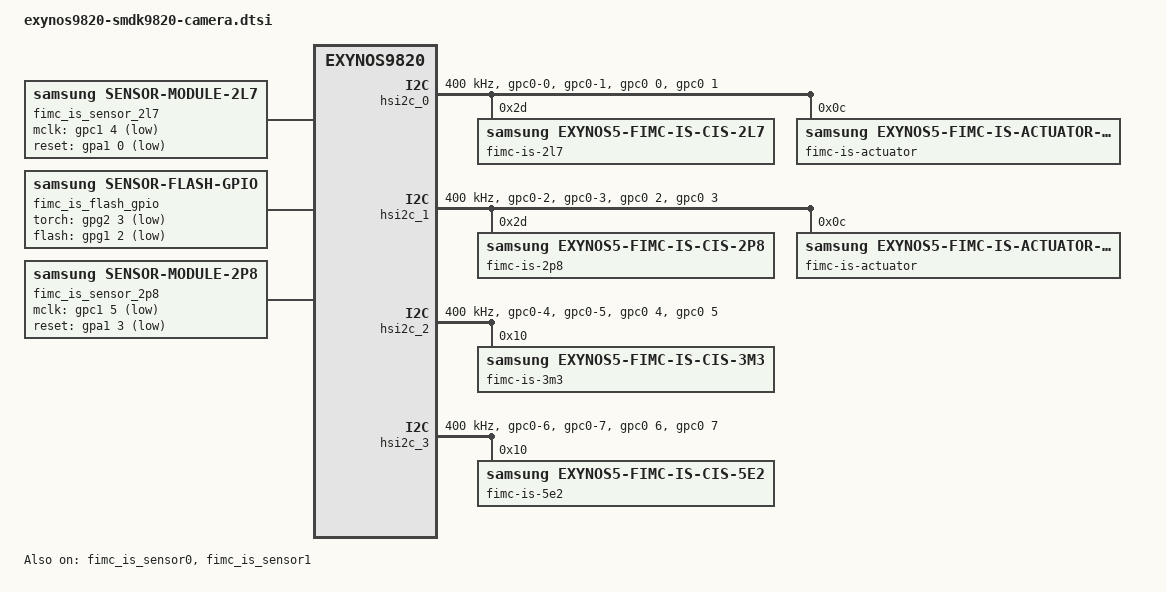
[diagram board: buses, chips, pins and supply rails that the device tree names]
/*
 * SAMSUNG EXYNOS9820 board camera device tree source
 *
 * Copyright (c) 2018 Samsung Electronics Co., Ltd.
 *		http://www.samsung.com
 *
 * This program is free software; you can redistribute it and/or modify
 * it under the terms of the GNU General Public License version 2 as
 * published by the Free Software Foundation.
*/

#include <dt-bindings/camera/fimc_is.h>

/ {
	fragment@camera {
		target-path = "/";
		__overlay__ {
			/* REAR CAMERA */
			fimc_is_sensor_2l7: fimc-is_sensor_2l7@5A {
				compatible = "samsung,sensor-module-2l7";

				pinctrl-names = "pin0", "pin1", "pin2", "release";
				pinctrl-0 = <>;
				pinctrl-1 = <&sensor_mclk0_out>;
				pinctrl-2 = <&sensor_mclk0_fn>;
				pinctrl-3 = <>;

				position = <0>;	/* Rear:0. Front:1. Rear_sub:2. Secure:3. */
				id = <0>; /* fimc_is_sensor id */
				mclk_ch = <0>;
				i2c_ch = <0>; /* I2C 0 */

				gpio_mclk = <&gpc1 4 0x1>;
				gpio_reset = <&gpa1 0 0x1>; /* sensor reset */
				status = "okay";

				af {
					product_name = <12>; /* ACTUATOR_NAME_AK7371 */
					i2c_ch = <0>; /* I2C 0 */
				};

				flash {
					product_name = <11>; /* FLASH_GPIO */
				};
			};

			fimc_is_flash_gpio: fimc-is-flash-gpio@0 {
				compatible = "samsung,sensor-flash-gpio";
				id = <0>;
				status = "okay";

				torch-gpio = <&gpg2 3 0x1>;
				flash-gpio = <&gpg1 2 0x1>;
			};

			/* FRONT CAMERA */
			fimc_is_sensor_2p8: fimc-is_sensor_2p8@5A {
				compatible = "samsung,sensor-module-2p8";

				pinctrl-names = "pin0", "pin1", "pin2", "release";
				pinctrl-0 = <>;
				pinctrl-1 = <&sensor_mclk1_out>;
				pinctrl-2 = <&sensor_mclk1_fn>;
				pinctrl-3 = <>;

				position = <1>;	/* Rear:0. Front:1. Rear_sub:2. Secure:3. */
				id = <1>; /* fimc_is_sensor id */
				mclk_ch = <1>;
				i2c_ch = <1>; /* I2C 1 */

				gpio_mclk = <&gpc1 5 0x1>;
				gpio_reset = <&gpa1 3 0x1>; /* sensor reset */
				status = "okay";

				af {
					product_name = <7>; /* ACTUATOR_NAME_AK7345 */
					i2c_ch = <1>; /* I2C 1 */
				};
			};

			/* REAR_SUB CAMERA */
			fimc_is_sensor_3m3: fimc-is_sensor_3m3@5A {
				compatible = "samsung,sensor-module-3m3";

				pinctrl-names = "pin0", "pin1", "pin2", "release";
				pinctrl-0 = <>;
				pinctrl-1 = <&sensor_mclk0_out>;
				pinctrl-2 = <&sensor_mclk0_fn>;
				pinctrl-3 = <>;

				position = <2>;	/* Rear:0. Front:1. Rear_sub:2. Secure:3. */
				id = <2>; /* fimc_is_sensor id */
				mclk_ch = <0>;

				gpio_mclk = <&gpc1 4 0x1>;
				gpio_reset = <&gpa1 4 0x1>; /* sensor reset */

				power_seq_id = <1>;  /* [0: < Rev0.2], [1: > Rev0.2] */

				status = "disabled";

				af {
					product_name = <100>; /* ACTUATOR_NAME_NOTHING */
				};
			};

			/* Secure CAMERA */
			fimc_is_sensor_5e2: fimc-is_sensor_5e2@20 {
				compatible = "samsung,sensor-module-5e2";

				pinctrl-names = "pin0", "pin1", "pin2", "release";
				pinctrl-0 = <>;
				pinctrl-1 = <&sensor_mclk3_out>;
				pinctrl-2 = <&sensor_mclk3_fn>;
				/*
				pinctrl-1 = <&sensor_mclk4_out>;
				pinctrl-2 = <&sensor_mclk4_fn>;
				*/
				pinctrl-3 = <>;

				position = <3>;	/* Rear:0. Front:1. Rear_sub:2. Secure:3. */
				id = <3>; /* fimc_is_sensor id */
				mclk_ch = <3>;

				gpio_mclk = <&gpc1 7 0x1>;
				gpio_reset = <&gpm18 0 0x1>; /* sensor reset */
				/*
				gpio_mclk = <&gpg3 0 0x1>;
				gpio_reset = <&gpm18 0 0x1>;
				*/
				status = "disabled";
			};
		}; /* end of __overlay__ */
	}; /* end of fragment */
}; /* end of root */

/***** reference symbol node *****/

&fimc_is {
	vender {
		rear_sensor_id = <35>; /* 2L7 */
		front_sensor_id = <20>; /* 2P8 */
		rear2_sensor_id = <33>; /* 3M3 */
		secure_sensor_id = <22>; /* 5E2 */
		front2_sensor_id = <22>; /* 5E2 */
	};

	fimc_is_dvfs {
		#define DVFS_INT_CAM_L0 690000
		#define DVFS_INT_CAM_L1 680000
		#define DVFS_INT_CAM_L2 670000
		#define DVFS_INT_CAM_L3 660000
		#define DVFS_INT_CAM_L4 650000

		#define DVFS_INT_L0 534000
		#define DVFS_INT_L1 400000
		#define DVFS_INT_L2 267000
		#define DVFS_INT_L3 200000
		#define DVFS_INT_L4 100000

		#define DVFS_CAM_L0 690000
		#define DVFS_CAM_L1 680000
		#define DVFS_CAM_L2 670000
		#define DVFS_CAM_L3 660000
		#define DVFS_CAM_L4 650000

		#define DVFS_MIF_L0 2094000
		#define DVFS_MIF_L1 2093000
		#define DVFS_MIF_L2 1794000
		#define DVFS_MIF_L3 1539000
		#define DVFS_MIF_L4 1352000
		#define DVFS_MIF_L5 1014000
		#define DVFS_MIF_L6 845000
		#define DVFS_MIF_L7 676000
		#define DVFS_MIF_L8 546000
		#define DVFS_MIF_L9 421000

		table0 {
			desc = "dvfs table v0.2 for 12M/8M";

			default_int_cam = <DVFS_INT_CAM_L0>;
			default_cam = <DVFS_CAM_L0>;
			default_mif = <DVFS_MIF_L0>;
			default_int = <DVFS_INT_L4>;
			default_hpg = <1>;

			front2_preview_int_cam = <DVFS_INT_CAM_L3>;
			front2_preview_cam = <DVFS_CAM_L3>;
			front2_preview_mif = <DVFS_MIF_L4>;
			front2_preview_int = <DVFS_INT_L4>;
			front2_preview_hpg = <1>;

			front2_capture_int_cam = <DVFS_INT_CAM_L3>;
			front2_capture_cam = <DVFS_CAM_L3>;
			front2_capture_mif = <DVFS_MIF_L4>;
			front2_capture_int = <DVFS_INT_L4>;
			front2_capture_hpg = <1>;

			front2_video_int_cam = <DVFS_INT_CAM_L3>;
			front2_video_cam = <DVFS_CAM_L3>;
			front2_video_mif = <DVFS_MIF_L4>;
			front2_video_int = <DVFS_INT_L4>;
			front2_video_hpg = <1>;

			front2_video_capture_int_cam = <DVFS_INT_CAM_L3>;
			front2_video_capture_cam = <DVFS_CAM_L3>;
			front2_video_capture_mif = <DVFS_MIF_L4>;
			front2_video_capture_int = <DVFS_INT_L4>;
			front2_video_capture_hpg = <1>;

			front_preview_int_cam = <DVFS_INT_CAM_L3>;
			front_preview_cam = <DVFS_CAM_L1>;
			front_preview_mif = <DVFS_MIF_L4>;
			front_preview_int = <DVFS_INT_L4>;
			front_preview_hpg = <1>;

			front_preview_full_int_cam = <DVFS_INT_CAM_L3>;
			front_preview_full_cam = <DVFS_CAM_L1>;
			front_preview_full_mif = <DVFS_MIF_L4>;
			front_preview_full_int = <DVFS_INT_L4>;
			front_preview_full_hpg = <1>;

			front_capture_int_cam = <DVFS_INT_CAM_L3>;
			front_capture_cam = <DVFS_CAM_L1>;
			front_capture_mif = <DVFS_MIF_L4>;
			front_capture_int = <DVFS_INT_L4>;
			front_capture_hpg = <1>;

			front_video_int_cam = <DVFS_INT_CAM_L3>;
			front_video_cam = <DVFS_CAM_L1>;
			front_video_mif = <DVFS_MIF_L4>;
			front_video_int = <DVFS_INT_L4>;
			front_video_hpg = <1>;

			front_video_whd_int_cam = <DVFS_INT_CAM_L3>;
			front_video_whd_cam = <DVFS_CAM_L1>;
			front_video_whd_mif = <DVFS_MIF_L4>;
			front_video_whd_int = <DVFS_INT_L4>;
			front_video_whd_hpg = <1>;

			front_video_uhd_int_cam = <DVFS_INT_CAM_L3>;
			front_video_uhd_cam = <DVFS_CAM_L1>;
			front_video_uhd_mif = <DVFS_MIF_L4>;
			front_video_uhd_int = <DVFS_INT_L4>;
			front_video_uhd_hpg = <1>;

			front_video_capture_int_cam = <DVFS_INT_CAM_L3>;
			front_video_capture_cam = <DVFS_CAM_L1>;
			front_video_capture_mif = <DVFS_MIF_L4>;
			front_video_capture_int = <DVFS_INT_L4>;
			front_video_capture_hpg = <1>;

			front_video_whd_capture_int_cam = <DVFS_INT_CAM_L3>;
			front_video_whd_capture_cam = <DVFS_CAM_L1>;
			front_video_whd_capture_mif = <DVFS_MIF_L4>;
			front_video_whd_capture_int = <DVFS_INT_L4>;
			front_video_whd_capture_hpg = <1>;

			front_video_uhd_capture_int_cam = <DVFS_INT_CAM_L3>;
			front_video_uhd_capture_cam = <DVFS_CAM_L1>;
			front_video_uhd_capture_mif = <DVFS_MIF_L4>;
			front_video_uhd_capture_int = <DVFS_INT_L4>;
			front_video_uhd_capture_hpg = <1>;

			front_dual_sync_preview_int_cam = <DVFS_INT_CAM_L1>;
			front_dual_sync_preview_cam = <DVFS_CAM_L1>;
			front_dual_sync_preview_mif = <DVFS_MIF_L4>;
			front_dual_sync_preview_int = <DVFS_INT_L4>;
			front_dual_sync_preview_hpg = <1>;

			front_dual_sync_capture_int_cam = <DVFS_INT_CAM_L1>;
			front_dual_sync_capture_cam = <DVFS_CAM_L1>;
			front_dual_sync_capture_mif = <DVFS_MIF_L3>;
			front_dual_sync_capture_int = <DVFS_INT_L4>;
			front_dual_sync_capture_hpg = <1>;

			front_dual_sync_video_fhd_int_cam = <DVFS_INT_CAM_L1>;
			front_dual_sync_video_fhd_cam = <DVFS_CAM_L1>;
			front_dual_sync_video_fhd_mif = <DVFS_MIF_L4>;
			front_dual_sync_video_fhd_int = <DVFS_INT_L4>;
			front_dual_sync_video_fhd_hpg = <1>;

			front_dual_sync_video_fhd_capture_int_cam = <DVFS_INT_CAM_L1>;
			front_dual_sync_video_fhd_capture_cam = <DVFS_CAM_L1>;
			front_dual_sync_video_fhd_capture_mif = <DVFS_MIF_L3>;
			front_dual_sync_video_fhd_capture_int = <DVFS_INT_L4>;
			front_dual_sync_video_fhd_capture_hpg = <1>;

			front_vt1_int_cam = <DVFS_INT_CAM_L3>;
			front_vt1_cam = <DVFS_CAM_L3>;
			front_vt1_mif = <DVFS_MIF_L4>;
			front_vt1_int = <DVFS_INT_L4>;
			front_vt1_hpg = <1>;

			front_vt2_int_cam = <DVFS_INT_CAM_L3>;
			front_vt2_cam = <DVFS_CAM_L3>;
			front_vt2_mif = <DVFS_MIF_L4>;
			front_vt2_int = <DVFS_INT_L4>;
			front_vt2_hpg = <1>;

			front_vt4_int_cam = <DVFS_INT_CAM_L3>;
			front_vt4_cam = <DVFS_CAM_L3>;
			front_vt4_mif = <DVFS_MIF_L4>;
			front_vt4_int = <DVFS_INT_L4>;
			front_vt4_hpg = <1>;

			front_preview_high_speed_fps_int_cam = <DVFS_INT_CAM_L3>;
			front_preview_high_speed_fps_cam = <DVFS_CAM_L1>;
			front_preview_high_speed_fps_mif = <DVFS_MIF_L4>;
			front_preview_high_speed_fps_int = <DVFS_INT_L4>;
			front_preview_high_speed_fps_hpg = <1>;

			rear3_preview_fhd_int_cam = <DVFS_INT_CAM_L3>;
			rear3_preview_fhd_cam = <DVFS_CAM_L1>;
			rear3_preview_fhd_mif = <DVFS_MIF_L4>;
			rear3_preview_fhd_int = <DVFS_INT_L4>;
			rear3_preview_fhd_hpg = <1>;

			rear3_capture_int_cam = <DVFS_INT_CAM_L1>;
			rear3_capture_cam = <DVFS_CAM_L1>;
			rear3_capture_mif = <DVFS_MIF_L4>;
			rear3_capture_int = <DVFS_INT_L4>;
			rear3_capture_hpg = <1>;

			rear3_video_fhd_int_cam = <DVFS_INT_CAM_L3>;
			rear3_video_fhd_cam = <DVFS_CAM_L1>;
			rear3_video_fhd_mif = <DVFS_MIF_L4>;
			rear3_video_fhd_int = <DVFS_INT_L4>;
			rear3_video_fhd_hpg = <1>;

			rear3_video_fhd_capture_int_cam = <DVFS_INT_CAM_L1>;
			rear3_video_fhd_capture_cam = <DVFS_CAM_L1>;
			rear3_video_fhd_capture_mif = <DVFS_MIF_L4>;
			rear3_video_fhd_capture_int = <DVFS_INT_L4>;
			rear3_video_fhd_capture_hpg = <1>;

			rear2_preview_fhd_int_cam = <DVFS_INT_CAM_L3>;
			rear2_preview_fhd_cam = <DVFS_CAM_L1>;
			rear2_preview_fhd_mif = <DVFS_MIF_L4>;
			rear2_preview_fhd_int = <DVFS_INT_L4>;
			rear2_preview_fhd_hpg = <1>;

			rear2_capture_int_cam = <DVFS_INT_CAM_L1>;
			rear2_capture_cam = <DVFS_CAM_L1>;
			rear2_capture_mif = <DVFS_MIF_L4>;
			rear2_capture_int = <DVFS_INT_L4>;
			rear2_capture_hpg = <1>;

			rear2_video_fhd_int_cam = <DVFS_INT_CAM_L3>;
			rear2_video_fhd_cam = <DVFS_CAM_L1>;
			rear2_video_fhd_mif = <DVFS_MIF_L4>;
			rear2_video_fhd_int = <DVFS_INT_L4>;
			rear2_video_fhd_hpg = <1>;

			rear2_video_fhd_capture_int_cam = <DVFS_INT_CAM_L1>;
			rear2_video_fhd_capture_cam = <DVFS_CAM_L1>;
			rear2_video_fhd_capture_mif = <DVFS_MIF_L4>;
			rear2_video_fhd_capture_int = <DVFS_INT_L4>;
			rear2_video_fhd_capture_hpg = <1>;

			rear_preview_fhd_int_cam = <DVFS_INT_CAM_L3>;
			rear_preview_fhd_cam = <DVFS_CAM_L1>;
			rear_preview_fhd_mif = <DVFS_MIF_L4>;
			rear_preview_fhd_int = <DVFS_INT_L4>;
			rear_preview_fhd_hpg = <1>;

			rear_preview_whd_int_cam = <DVFS_INT_CAM_L3>;
			rear_preview_whd_cam = <DVFS_CAM_L1>;
			rear_preview_whd_mif = <DVFS_MIF_L4>;
			rear_preview_whd_int = <DVFS_INT_L4>;
			rear_preview_whd_hpg = <1>;

			rear_preview_uhd_int_cam = <DVFS_INT_CAM_L3>;
			rear_preview_uhd_cam = <DVFS_CAM_L1>;
			rear_preview_uhd_mif = <DVFS_MIF_L4>;
			rear_preview_uhd_int = <DVFS_INT_L4>;
			rear_preview_uhd_hpg = <1>;

			rear_preview_uhd_60fps_int_cam = <DVFS_INT_CAM_L1>;
			rear_preview_uhd_60fps_cam = <DVFS_CAM_L1>;
			rear_preview_uhd_60fps_mif = <DVFS_MIF_L3>;
			rear_preview_uhd_60fps_int = <DVFS_INT_L4>;
			rear_preview_uhd_60fps_hpg = <1>;

			rear_preview_full_int_cam = <DVFS_INT_CAM_L3>;
			rear_preview_full_cam = <DVFS_CAM_L1>;
			rear_preview_full_mif = <DVFS_MIF_L4>;
			rear_preview_full_int = <DVFS_INT_L4>;
			rear_preview_full_hpg = <1>;

			rear_capture_int_cam = <DVFS_INT_CAM_L1>;
			rear_capture_cam = <DVFS_CAM_L1>;
			rear_capture_mif = <DVFS_MIF_L4>;
			rear_capture_int = <DVFS_INT_L4>;
			rear_capture_hpg = <1>;

			rear_video_fhd_int_cam = <DVFS_INT_CAM_L3>;
			rear_video_fhd_cam = <DVFS_CAM_L1>;
			rear_video_fhd_mif = <DVFS_MIF_L4>;
			rear_video_fhd_int = <DVFS_INT_L4>;
			rear_video_fhd_hpg = <1>;

			rear_video_whd_int_cam = <DVFS_INT_CAM_L3>;
			rear_video_whd_cam = <DVFS_CAM_L1>;
			rear_video_whd_mif = <DVFS_MIF_L4>;
			rear_video_whd_int = <DVFS_INT_L4>;
			rear_video_whd_hpg = <1>;

			rear_video_uhd_int_cam = <DVFS_INT_CAM_L3>;
			rear_video_uhd_cam = <DVFS_CAM_L1>;
			rear_video_uhd_mif = <DVFS_MIF_L4>;
			rear_video_uhd_int = <DVFS_INT_L4>;
			rear_video_uhd_hpg = <1>;

			rear_video_uhd_60fps_int_cam = <DVFS_INT_CAM_L1>;
			rear_video_uhd_60fps_cam = <DVFS_CAM_L1>;
			rear_video_uhd_60fps_mif = <DVFS_MIF_L3>;
			rear_video_uhd_60fps_int = <DVFS_INT_L4>;
			rear_video_uhd_60fps_hpg = <1>;

			rear_video_fhd_capture_int_cam = <DVFS_INT_CAM_L1>;
			rear_video_fhd_capture_cam = <DVFS_CAM_L1>;
			rear_video_fhd_capture_mif = <DVFS_MIF_L4>;
			rear_video_fhd_capture_int = <DVFS_INT_L4>;
			rear_video_fhd_capture_hpg = <1>;

			rear_video_whd_capture_int_cam = <DVFS_INT_CAM_L1>;
			rear_video_whd_capture_cam = <DVFS_CAM_L1>;
			rear_video_whd_capture_mif = <DVFS_MIF_L4>;
			rear_video_whd_capture_int = <DVFS_INT_L4>;
			rear_video_whd_capture_hpg = <1>;

			rear_video_uhd_capture_int_cam = <DVFS_INT_CAM_L1>;
			rear_video_uhd_capture_cam = <DVFS_CAM_L1>;
			rear_video_uhd_capture_mif = <DVFS_MIF_L4>;
			rear_video_uhd_capture_int = <DVFS_INT_L4>;
			rear_video_uhd_capture_hpg = <1>;

			dual_preview_int_cam = <DVFS_INT_CAM_L3>;
			dual_preview_cam = <DVFS_CAM_L1>;
			dual_preview_mif = <DVFS_MIF_L4>;
			dual_preview_int = <DVFS_INT_L4>;
			dual_preview_hpg = <1>;

			dual_capture_int_cam = <DVFS_INT_CAM_L1>;
			dual_capture_cam = <DVFS_CAM_L1>;
			dual_capture_mif = <DVFS_MIF_L4>;
			dual_capture_int = <DVFS_INT_L4>;
			dual_capture_hpg = <1>;

			dual_video_fhd_int_cam = <DVFS_INT_CAM_L3>;
			dual_video_fhd_cam = <DVFS_CAM_L1>;
			dual_video_fhd_mif = <DVFS_MIF_L4>;
			dual_video_fhd_int = <DVFS_INT_L4>;
			dual_video_fhd_hpg = <1>;

			dual_video_fhd_capture_int_cam = <DVFS_INT_CAM_L1>;
			dual_video_fhd_capture_cam = <DVFS_CAM_L1>;
			dual_video_fhd_capture_mif = <DVFS_MIF_L4>;
			dual_video_fhd_capture_int = <DVFS_INT_L4>;
			dual_video_fhd_capture_hpg = <1>;

			dual_video_uhd_int_cam = <DVFS_INT_CAM_L3>;
			dual_video_uhd_cam = <DVFS_CAM_L1>;
			dual_video_uhd_mif = <DVFS_MIF_L4>;
			dual_video_uhd_int = <DVFS_INT_L4>;
			dual_video_uhd_hpg = <1>;

			dual_video_uhd_capture_int_cam = <DVFS_INT_CAM_L1>;
			dual_video_uhd_capture_cam = <DVFS_CAM_L1>;
			dual_video_uhd_capture_mif = <DVFS_MIF_L4>;
			dual_video_uhd_capture_int = <DVFS_INT_L4>;
			dual_video_uhd_capture_hpg = <1>;

			dual_sync_preview_int_cam = <DVFS_INT_CAM_L1>;
			dual_sync_preview_cam = <DVFS_CAM_L1>;
			dual_sync_preview_mif = <DVFS_MIF_L4>;
			dual_sync_preview_int = <DVFS_INT_L4>;
			dual_sync_preview_hpg = <1>;

			dual_sync_capture_int_cam = <DVFS_INT_CAM_L1>;
			dual_sync_capture_cam = <DVFS_CAM_L1>;
			dual_sync_capture_mif = <DVFS_MIF_L3>;
			dual_sync_capture_int = <DVFS_INT_L4>;
			dual_sync_capture_hpg = <1>;

			dual_sync_preview_whd_int_cam = <DVFS_INT_CAM_L1>;
			dual_sync_preview_whd_cam = <DVFS_CAM_L1>;
			dual_sync_preview_whd_mif = <DVFS_MIF_L3>;
			dual_sync_preview_whd_int = <DVFS_INT_L4>;
			dual_sync_preview_whd_hpg = <1>;

			dual_sync_whd_capture_int_cam = <DVFS_INT_CAM_L1>;
			dual_sync_whd_capture_cam = <DVFS_CAM_L1>;
			dual_sync_whd_capture_mif = <DVFS_MIF_L3>;
			dual_sync_whd_capture_int = <DVFS_INT_L4>;
			dual_sync_whd_capture_hpg = <1>;

			dual_sync_video_fhd_int_cam = <DVFS_INT_CAM_L1>;
			dual_sync_video_fhd_cam = <DVFS_CAM_L1>;
			dual_sync_video_fhd_mif = <DVFS_MIF_L4>;
			dual_sync_video_fhd_int = <DVFS_INT_L4>;
			dual_sync_video_fhd_hpg = <1>;

			dual_sync_video_fhd_capture_int_cam = <DVFS_INT_CAM_L1>;
			dual_sync_video_fhd_capture_cam = <DVFS_CAM_L1>;
			dual_sync_video_fhd_capture_mif = <DVFS_MIF_L3>;
			dual_sync_video_fhd_capture_int = <DVFS_INT_L4>;
			dual_sync_video_fhd_capture_hpg = <1>;

			dual_sync_video_uhd_int_cam = <DVFS_INT_CAM_L1>;
			dual_sync_video_uhd_cam = <DVFS_CAM_L1>;
			dual_sync_video_uhd_mif = <DVFS_MIF_L4>;
			dual_sync_video_uhd_int = <DVFS_INT_L4>;
			dual_sync_video_uhd_hpg = <1>;

			dual_sync_video_uhd_capture_int_cam = <DVFS_INT_CAM_L1>;
			dual_sync_video_uhd_capture_cam = <DVFS_CAM_L1>;
			dual_sync_video_uhd_capture_mif = <DVFS_MIF_L3>;
			dual_sync_video_uhd_capture_int = <DVFS_INT_L4>;
			dual_sync_video_uhd_capture_hpg = <1>;

			secure_front_int_cam = <DVFS_INT_CAM_L3>;
			secure_front_cam = <DVFS_CAM_L3>;
			secure_front_mif = <DVFS_MIF_L4>;
			secure_front_int = <DVFS_INT_L4>;
			secure_front_hpg = <1>;

			pip_preview_int_cam = <DVFS_INT_CAM_L1>;
			pip_preview_cam = <DVFS_CAM_L1>;
			pip_preview_mif = <DVFS_MIF_L4>;
			pip_preview_int = <DVFS_INT_L4>;
			pip_preview_hpg = <1>;

			pip_capture_int_cam = <DVFS_INT_CAM_L1>;
			pip_capture_cam = <DVFS_CAM_L1>;
			pip_capture_mif = <DVFS_MIF_L4>;
			pip_capture_int = <DVFS_INT_L4>;
			pip_capture_hpg = <1>;

			pip_video_int_cam = <DVFS_INT_CAM_L1>;
			pip_video_cam = <DVFS_CAM_L1>;
			pip_video_mif = <DVFS_MIF_L4>;
			pip_video_int = <DVFS_INT_L4>;
			pip_video_hpg = <1>;

			pip_video_capture_int_cam = <DVFS_INT_CAM_L1>;
			pip_video_capture_cam = <DVFS_CAM_L1>;
			pip_video_capture_mif = <DVFS_MIF_L4>;
			pip_video_capture_int = <DVFS_INT_L4>;
			pip_video_capture_hpg = <1>;

			preview_high_speed_fps_int_cam = <DVFS_INT_CAM_L3>;
			preview_high_speed_fps_cam = <DVFS_CAM_L1>;
			preview_high_speed_fps_mif = <DVFS_MIF_L4>;
			preview_high_speed_fps_int = <DVFS_INT_L4>;
			preview_high_speed_fps_hpg = <1>;

			video_high_speed_60fps_int_cam = <DVFS_INT_CAM_L1>;
			video_high_speed_60fps_cam = <DVFS_CAM_L1>;
			video_high_speed_60fps_mif = <DVFS_MIF_L4>;
			video_high_speed_60fps_int = <DVFS_INT_L4>;
			video_high_speed_60fps_hpg = <1>;

			video_high_speed_120fps_int_cam = <DVFS_INT_CAM_L3>;
			video_high_speed_120fps_cam = <DVFS_CAM_L1>;
			video_high_speed_120fps_mif = <DVFS_MIF_L4>;
			video_high_speed_120fps_int = <DVFS_INT_L4>;
			video_high_speed_120fps_hpg = <1>;

			video_high_speed_240fps_int_cam = <DVFS_INT_CAM_L1>;
			video_high_speed_240fps_cam = <DVFS_CAM_L1>;
			video_high_speed_240fps_mif = <DVFS_MIF_L3>;
			video_high_speed_240fps_int = <DVFS_INT_L4>;
			video_high_speed_240fps_hpg = <1>;

			video_high_speed_dualfps_int_cam = <DVFS_INT_CAM_L1>;
			video_high_speed_dualfps_cam = <DVFS_CAM_L1>;
			video_high_speed_dualfps_mif = <DVFS_MIF_L3>;
			video_high_speed_dualfps_int = <DVFS_INT_L4>;
			video_high_speed_dualfps_hpg = <6>;

			video_high_speed_60fps_capture_int_cam = <DVFS_INT_CAM_L1>;
			video_high_speed_60fps_capture_cam = <DVFS_CAM_L1>;
			video_high_speed_60fps_capture_mif = <DVFS_MIF_L3>;
			video_high_speed_60fps_capture_int = <DVFS_INT_L4>;
			video_high_speed_60fps_capture_hpg = <1>;

			ext_front_int_cam = <DVFS_INT_CAM_L0>;
			ext_front_cam = <DVFS_CAM_L0>;
			ext_front_mif = <DVFS_MIF_L0>;
			ext_front_int = <DVFS_INT_L0>;
			ext_front_hpg = <1>;

			ext_secure_int_cam = <DVFS_INT_CAM_L4>;
			ext_secure_cam = <DVFS_CAM_L4>;
			ext_secure_mif = <DVFS_MIF_L4>;
			ext_secure_int = <DVFS_INT_L4>;
			ext_secure_hpg = <1>;

			max_int_cam = <DVFS_INT_CAM_L0>;
			max_cam = <DVFS_CAM_L0>;
			max_mif = <DVFS_MIF_L0>;
			max_int = <DVFS_INT_L0>;
			max_hpg = <1>;
		};
	};
};

&pinctrl_6 {
	/* PERIC1 CAM0 */
	/* No pull-up resistor, use internal one */
	hsi2c0_bus: hsi2c0-bus {
		samsung,pin-pud = <3>;
	};

	hsi2c0_bus_in: hsi2c0-bus-in {
		samsung,pins = "gpc0-0", "gpc0-1";
		samsung,pin-function = <0>;
		samsung,pin-pud = <0>;
		samsung,pin-drv = <0>;
	};

	/* PERIC1 CAM1 */
	/* No pull-up resistor, use internal one */
	hsi2c1_bus: hsi2c1-bus {
		samsung,pin-pud = <3>;
	};

	hsi2c1_bus_in: hsi2c1-bus-in {
		samsung,pins = "gpc0-2", "gpc0-3";
		samsung,pin-function = <0>;
		samsung,pin-pud = <0>;
		samsung,pin-drv = <0>;
	};

	/* PERIC1 CAM2 */
	hsi2c2_bus_in: hsi2c2-bus-in {
		samsung,pins = "gpc0-4", "gpc0-5";
		samsung,pin-function = <0>;
		samsung,pin-pud = <0>;
		samsung,pin-drv = <0>;
	};

	/* PERIC1 CAM3 */
	hsi2c3_bus_in: hsi2c3-bus-in {
		samsung,pins = "gpc0-6", "gpc0-7";
		samsung,pin-function = <0>;
		samsung,pin-pud = <0>;
		samsung,pin-drv = <0>;
	};
};

/* PERIC1 CAM0 */
&hsi2c_0 {
	#address-cells = <1>;
	#size-cells = <0>;
	gpios = <&gpc0 0 0 &gpc0 1 0>;
	status = "okay";
	/* clock-frequency = <1000000>; */
	clock-frequency = <400000>;
	samsung,reset-before-trans;

	pinctrl-names = "default","on_i2c","off_i2c";
	pinctrl-0 = <&hsi2c0_bus_in>;
	pinctrl-1 = <&hsi2c0_bus>;
	pinctrl-2 = <&hsi2c0_bus_in>;

	fimc-is-2l7@10 {
		compatible = "samsung,exynos5-fimc-is-cis-2l7";
		reg = <0x2d>; /* 1 bit right shift */
		id = <0>; /* matching fimc_is_sensor id */
		setfile = "setB";
	};

	fimc-is-actuator@0C {
		compatible = "samsung,exynos5-fimc-is-actuator-ak7371";
		reg = <0x0C>;
		id = <0>; /* matching fimc_is_sensor id */
		vendor_product_id = <0x9>; /* AK7372:0xC AK7371:0x9 */
		vendor_first_pos = <120>;
		vendor_first_delay = <2000>;
		vendor_first_delay_max = <2010>;
	};
};

/* PERIC1 CAM1 */
&hsi2c_1 {
	#address-cells = <1>;
	#size-cells = <0>;
	gpios = <&gpc0 2 0 &gpc0 3 0>;
	status = "okay";
	clock-frequency = <400000>;
	samsung,reset-before-trans;

	pinctrl-names = "default","on_i2c","off_i2c";
	pinctrl-0 = <&hsi2c1_bus_in>;
	pinctrl-1 = <&hsi2c1_bus>;
	pinctrl-2 = <&hsi2c1_bus_in>;

	fimc-is-2p8@2D {
		compatible = "samsung,exynos5-fimc-is-cis-2p8";
		reg = <0x2d>; /* 1 bit right shift */
		id = <1>; /* matching fimc_is_sensor id */
		setfile = "default";
	};

	fimc-is-actuator@0C {
		compatible = "samsung,exynos5-fimc-is-actuator-ak7345";
		reg = <0x0C>;
		id = <1>; /* matching fimc_is_sensor id */
		place = <1>;
	};
};

/* PERIC1 CAM2 */
&hsi2c_2 {
	#address-cells = <1>;
	#size-cells = <0>;
	gpios = <&gpc0 4 0 &gpc0 5 0>;
	status = "okay";
	clock-frequency = <400000>;
	samsung,reset-before-trans;

	pinctrl-names = "default","on_i2c","off_i2c";
	pinctrl-0 = <&hsi2c2_bus_in>;
	pinctrl-1 = <&hsi2c2_bus>;
	pinctrl-2 = <&hsi2c2_bus_in>;

	fimc-is-3m3@20 {
		compatible = "samsung,exynos5-fimc-is-cis-3m3";
		reg = <0x10>; /* 1 bit right shift */
		id = <2>; /* matching fimc_is_sensor id */
		setfile = "default";
	};
};

/* PERI1 CAM3 */
&hsi2c_3 {
	#address-cells = <1>;
	#size-cells = <0>;
	gpios = <&gpc0 6 0 &gpc0 7 0>;
	status = "okay";
	clock-frequency = <400000>;
	samsung,reset-before-trans;

	pinctrl-names = "default","on_i2c","off_i2c";
	pinctrl-0 = <&hsi2c3_bus_in>;
	pinctrl-1 = <&hsi2c3_bus>;
	pinctrl-2 = <&hsi2c3_bus_in>;

	fimc-is-5e2@10 {
		compatible = "samsung,exynos5-fimc-is-cis-5e2";
		reg = <0x10>;
		id = <3>; /* matching fimc_is_sensor id */
		setfile = "default";
	};
};

&fimc_is_sensor0 {
	scenario = <SENSOR_SCENARIO_NORMAL>;	/* Normal, Vision, OIS etc */
	id = <0>;
	csi_ch = <0>;
	dma_ch = <0 0 0 0 0 4 4 4>;
	vc_ch = <0 1 2 3 0 0 1 2>;
	flite_ch = <FLITE_ID_NOTHING>;
	is_bns = <0>;
	status = "okay";
};

&fimc_is_sensor1 {
	scenario = <SENSOR_SCENARIO_NORMAL>;	/* Normal, Vision, OIS etc */
	id = <1>;
	csi_ch = <1>;
	dma_ch = <1 1 1 1>;
	vc_ch = <0 1 2 3>;
	flite_ch = <FLITE_ID_NOTHING>;
	is_bns = <0>;
	status = "okay";
};

&fimc_is_sensor2 {
	scenario = <SENSOR_SCENARIO_NORMAL>;	/* Normal, Vision, OIS etc */
	id = <2>;
	csi_ch = <2>;
	dma_ch = <2 2 2 2>;
	vc_ch = <0 1 2 3>;
	flite_ch = <FLITE_ID_NOTHING>;
	is_bns = <0>;
	status = "disabled";
};

&fimc_is_sensor3 {
	scenario = <SENSOR_SCENARIO_SECURE>;	/* Normal, Vision, OIS etc */
	id = <3>;
	csi_ch = <3>;
	dma_ch = <3 3 3 3>;
	vc_ch = <0 1 2 3>;
	flite_ch = <FLITE_ID_NOTHING>;
	is_bns = <0>;
	status = "disabled";
};

&fimc_is_sensor4 {
	scenario = <SENSOR_SCENARIO_SECURE>;	/* Normal, Vision, OIS etc */
	id = <4>;
	csi_ch = <4>;
	dma_ch = <3 3 3 3>;
	vc_ch = <0 1 2 3>;
	flite_ch = <FLITE_ID_NOTHING>;
	is_bns = <0>;
	status = "disabled";
};
